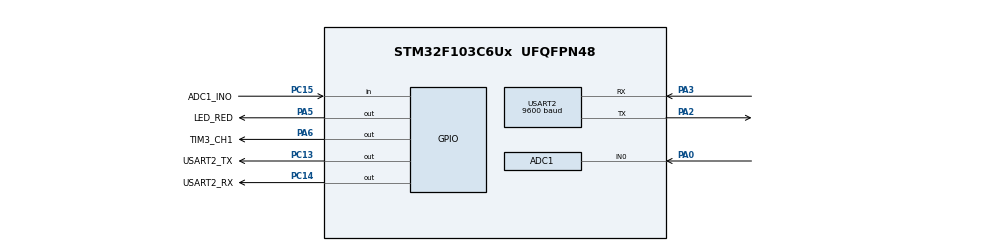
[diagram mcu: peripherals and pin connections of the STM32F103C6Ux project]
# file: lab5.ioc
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ADC1.Channel-0\#ChannelRegularConversion=ADC_CHANNEL_0
ADC1.ContinuousConvMode=ENABLE
ADC1.NbrOfConversionFlag=1
ADC1.Rank-0\#ChannelRegularConversion=1
ADC1.SamplingTime-0\#ChannelRegularConversion=ADC_SAMPLETIME_1CYCLE_5
ADC1.master=1
Mcu.Family=STM32F1
Mcu.Name=STM32F103C6Ux
Mcu.Package=UFQFPN48
NVIC.ADC1_2_IRQn=true\:0\:0\:false\:false\:true\:true\:true\:true
NVIC.PriorityGroup=NVIC_PRIORITYGROUP_4
NVIC.TIM2_IRQn=true\:0\:0\:false\:false\:true\:true\:true\:true
NVIC.USART2_IRQn=true\:0\:0\:false\:false\:true\:true\:true\:true
PA0-WKUP.Signal=ADCx_IN0
PA2.Mode=Asynchronous
PA2.Signal=USART2_TX
PA3.Mode=Asynchronous
PA3.Signal=USART2_RX
PA5.GPIO_Label=LED_RED
PA5.Signal=GPIO_Output
PA6.GPIO_Label=TIM3_CH1
PA6.Signal=GPIO_Output
PC13-TAMPER-RTC.GPIO_Label=USART2_TX
PC13-TAMPER-RTC.Signal=GPIO_Output
PC14-OSC32_IN.GPIO_Label=USART2_RX
PC14-OSC32_IN.Signal=GPIO_Output
PC15-OSC32_OUT.GPIO_Label=ADC1_INO
PC15-OSC32_OUT.Signal=GPIO_Input
ProjectManager.HeapSize=0x200
ProjectManager.StackSize=0x400
ProjectManager.TargetToolchain=STM32CubeIDE
RCC.APB1Freq_Value=8000000
RCC.APB2Freq_Value=8000000
SH.ADCx_IN0.0=ADC1_IN0,IN0
TIM2.Period=9
TIM2.Prescaler=7999
USART2.BaudRate=9600
USART2.VirtualMode=VM_ASYNC
VP_TIM2_VS_ClockSourceINT.Mode=Internal
board=custom

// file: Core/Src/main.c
/* USER CODE BEGIN Header */
/**
  ******************************************************************************
  * @file           : main.c
  * @brief          : Main program body
  ******************************************************************************
  * @attention
  *
  * Copyright (c) 2022 STMicroelectronics.
  * All rights reserved.
  *
  * This software is licensed under terms that can be found in the LICENSE file
  * in the root directory of this software component.
  * If no LICENSE file comes with this software, it is provided AS-IS.
  *
  ******************************************************************************
  */
/* USER CODE END Header */
#include <uart_communication_fsm.h>
#include "main.h"

/* USER CODE BEGIN Includes */
#include "string.h"
#include "global.h"
#include "command_parser_fsm.h"
#include "uart_communication_fsm.h"
#include "software_timer.h"
#include "stdio.h"
/* USER CODE END Includes */

ADC_HandleTypeDef hadc1;

TIM_HandleTypeDef htim2;

UART_HandleTypeDef huart2;

void SystemClock_Config(void);
static void MX_GPIO_Init(void);
static void MX_USART2_UART_Init(void);
static void MX_ADC1_Init(void);
static void MX_TIM2_Init(void);

/* USER CODE BEGIN 0 */
void HAL_UART_RxCpltCallback(UART_HandleTypeDef * huart) {
	if(huart->Instance == USART2){
		buffer[index_buffer++] = temp;
		if(index_buffer == MAX_BUFFER_SIZE - 3) index_buffer = 0;
		buffer_flag = 1;
		HAL_UART_Transmit(&huart2, &temp, 1, 50);
		HAL_UART_Receive_IT(&huart2, &temp, 1);
	}
}
/* USER CODE END 0 */

int main(void)
{

  /* MCU Configuration--------------------------------------------------------*/

  /* Reset of all peripherals, Initializes the Flash interface and the Systick. */
  HAL_Init();

  /* Configure the system clock */
  SystemClock_Config();

  /* Initialize all configured peripherals */
  MX_GPIO_Init();
  MX_USART2_UART_Init();
  MX_ADC1_Init();
  MX_TIM2_Init();
  /* USER CODE BEGIN 2 */
  HAL_TIM_Base_Start_IT(&htim2);
  HAL_UART_Receive_IT (&huart2 , &temp , 1) ;
  //Timer for blinky led
  setTimer1(1000);
  //Clear timer2 before run
  clearTimer2();
  /* USER CODE END 2 */

  /* Infinite loop */
  while (1)
  {

    /* USER CODE BEGIN 3 */
	  //Blinky led every 1s
	  if(timer1_flag == 1){
		  HAL_GPIO_TogglePin(LED_RED_GPIO_Port , LED_RED_Pin);
		  setTimer1(1000) ;
	  }

	  //If received byte , execute command_parser_fsm function
	  if (buffer_flag == 1) {
		  command_parser_fsm();
		  buffer_flag = 0;
	  }

	  //Always execute uart_communication_fsm
	  uart_communication_fsm();
  }
  /* USER CODE END 3 */
}

void SystemClock_Config(void)
{
  RCC_OscInitTypeDef RCC_OscInitStruct = {0};
  RCC_ClkInitTypeDef RCC_ClkInitStruct = {0};
  RCC_PeriphCLKInitTypeDef PeriphClkInit = {0};

  /** Initializes the RCC Oscillators according to the specified parameters
  * in the RCC_OscInitTypeDef structure.
  */
  RCC_OscInitStruct.OscillatorType = RCC_OSCILLATORTYPE_HSI;
  RCC_OscInitStruct.HSIState = RCC_HSI_ON;
  RCC_OscInitStruct.HSICalibrationValue = RCC_HSICALIBRATION_DEFAULT;
  RCC_OscInitStruct.PLL.PLLState = RCC_PLL_NONE;
  if (HAL_RCC_OscConfig(&RCC_OscInitStruct) != HAL_OK)
  {
    Error_Handler();
  }

  /** Initializes the CPU, AHB and APB buses clocks
  */
  RCC_ClkInitStruct.ClockType = RCC_CLOCKTYPE_HCLK|RCC_CLOCKTYPE_SYSCLK
                              |RCC_CLOCKTYPE_PCLK1|RCC_CLOCKTYPE_PCLK2;
  RCC_ClkInitStruct.SYSCLKSource = RCC_SYSCLKSOURCE_HSI;
  RCC_ClkInitStruct.AHBCLKDivider = RCC_SYSCLK_DIV1;
  RCC_ClkInitStruct.APB1CLKDivider = RCC_HCLK_DIV1;
  RCC_ClkInitStruct.APB2CLKDivider = RCC_HCLK_DIV1;

  if (HAL_RCC_ClockConfig(&RCC_ClkInitStruct, FLASH_LATENCY_0) != HAL_OK)
  {
    Error_Handler();
  }
  PeriphClkInit.PeriphClockSelection = RCC_PERIPHCLK_ADC;
  PeriphClkInit.AdcClockSelection = RCC_ADCPCLK2_DIV2;
  if (HAL_RCCEx_PeriphCLKConfig(&PeriphClkInit) != HAL_OK)
  {
    Error_Handler();
  }
}

static void MX_ADC1_Init(void)
{

  ADC_ChannelConfTypeDef sConfig = {0};

  /** Common config
  */
  hadc1.Instance = ADC1;
  hadc1.Init.ScanConvMode = ADC_SCAN_DISABLE;
  hadc1.Init.ContinuousConvMode = ENABLE;
  hadc1.Init.DiscontinuousConvMode = DISABLE;
  hadc1.Init.ExternalTrigConv = ADC_SOFTWARE_START;
  hadc1.Init.DataAlign = ADC_DATAALIGN_RIGHT;
  hadc1.Init.NbrOfConversion = 1;
  if (HAL_ADC_Init(&hadc1) != HAL_OK)
  {
    Error_Handler();
  }

  /** Configure Regular Channel
  */
  sConfig.Channel = ADC_CHANNEL_0;
  sConfig.Rank = ADC_REGULAR_RANK_1;
  sConfig.SamplingTime = ADC_SAMPLETIME_1CYCLE_5;
  if (HAL_ADC_ConfigChannel(&hadc1, &sConfig) != HAL_OK)
  {
    Error_Handler();
  }

}

static void MX_TIM2_Init(void)
{

  TIM_ClockConfigTypeDef sClockSourceConfig = {0};
  TIM_MasterConfigTypeDef sMasterConfig = {0};

  htim2.Instance = TIM2;
  htim2.Init.Prescaler = 7999;
  htim2.Init.CounterMode = TIM_COUNTERMODE_UP;
  htim2.Init.Period = 9;
  htim2.Init.ClockDivision = TIM_CLOCKDIVISION_DIV1;
  htim2.Init.AutoReloadPreload = TIM_AUTORELOAD_PRELOAD_DISABLE;
  if (HAL_TIM_Base_Init(&htim2) != HAL_OK)
  {
    Error_Handler();
  }
  sClockSourceConfig.ClockSource = TIM_CLOCKSOURCE_INTERNAL;
  if (HAL_TIM_ConfigClockSource(&htim2, &sClockSourceConfig) != HAL_OK)
  {
    Error_Handler();
  }
  sMasterConfig.MasterOutputTrigger = TIM_TRGO_RESET;
  sMasterConfig.MasterSlaveMode = TIM_MASTERSLAVEMODE_DISABLE;
  if (HAL_TIMEx_MasterConfigSynchronization(&htim2, &sMasterConfig) != HAL_OK)
  {
    Error_Handler();
  }
  /* USER CODE BEGIN TIM2_Init 2 */
  TICK = 1/ (8e6 / ( htim2.Init.Prescaler + 1) / (htim2.Init.Period + 1)) * 1000;
  /* USER CODE END TIM2_Init 2 */

}

static void MX_USART2_UART_Init(void)
{

  huart2.Instance = USART2;
  huart2.Init.BaudRate = 9600;
  huart2.Init.WordLength = UART_WORDLENGTH_8B;
  huart2.Init.StopBits = UART_STOPBITS_1;
  huart2.Init.Parity = UART_PARITY_NONE;
  huart2.Init.Mode = UART_MODE_TX_RX;
  huart2.Init.HwFlowCtl = UART_HWCONTROL_NONE;
  huart2.Init.OverSampling = UART_OVERSAMPLING_16;
  if (HAL_UART_Init(&huart2) != HAL_OK)
  {
    Error_Handler();
  }

}

static void MX_GPIO_Init(void)
{
  GPIO_InitTypeDef GPIO_InitStruct = {0};

  /* GPIO Ports Clock Enable */
  __HAL_RCC_GPIOC_CLK_ENABLE();
  __HAL_RCC_GPIOA_CLK_ENABLE();

  /*Configure GPIO pin Output Level */
  HAL_GPIO_WritePin(GPIOC, USART2_TX_Pin|USART2_RX_Pin, GPIO_PIN_RESET);

  /*Configure GPIO pin Output Level */
  HAL_GPIO_WritePin(GPIOA, LED_RED_Pin|TIM3_CH1_Pin, GPIO_PIN_RESET);

  /*Configure GPIO pins : USART2_TX_Pin USART2_RX_Pin */
  GPIO_InitStruct.Pin = USART2_TX_Pin|USART2_RX_Pin;
  GPIO_InitStruct.Mode = GPIO_MODE_OUTPUT_PP;
  GPIO_InitStruct.Pull = GPIO_NOPULL;
  GPIO_InitStruct.Speed = GPIO_SPEED_FREQ_LOW;
  HAL_GPIO_Init(GPIOC, &GPIO_InitStruct);

  /*Configure GPIO pin : ADC1_INO_Pin */
  GPIO_InitStruct.Pin = ADC1_INO_Pin;
  GPIO_InitStruct.Mode = GPIO_MODE_INPUT;
  GPIO_InitStruct.Pull = GPIO_NOPULL;
  HAL_GPIO_Init(ADC1_INO_GPIO_Port, &GPIO_InitStruct);

  /*Configure GPIO pins : LED_RED_Pin TIM3_CH1_Pin */
  GPIO_InitStruct.Pin = LED_RED_Pin|TIM3_CH1_Pin;
  GPIO_InitStruct.Mode = GPIO_MODE_OUTPUT_PP;
  GPIO_InitStruct.Pull = GPIO_NOPULL;
  GPIO_InitStruct.Speed = GPIO_SPEED_FREQ_LOW;
  HAL_GPIO_Init(GPIOA, &GPIO_InitStruct);

}

/* USER CODE BEGIN 4 */
void HAL_TIM_PeriodElapsedCallback(TIM_HandleTypeDef *htim){
	timerRun();
}
/* USER CODE END 4 */

void Error_Handler(void)
{
  __disable_irq();
  while (1)
  {
  }
}
